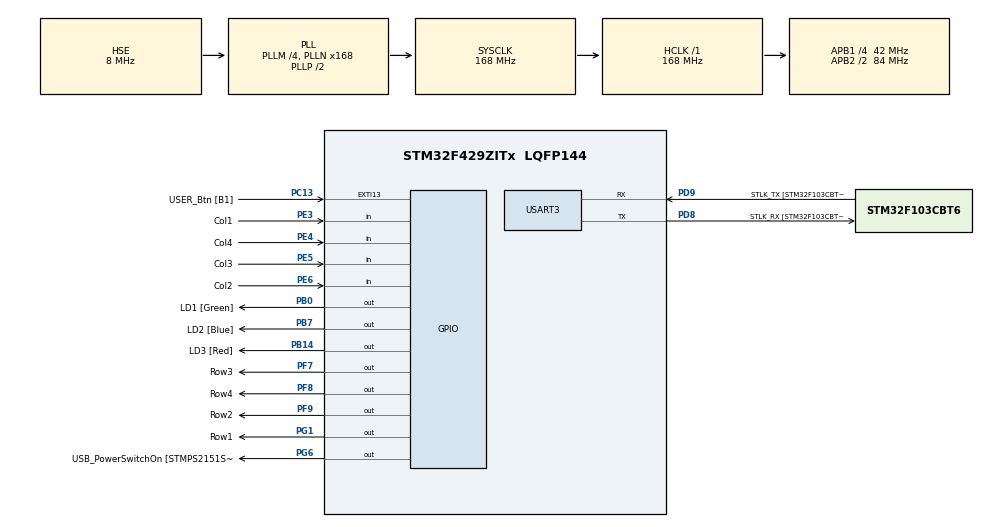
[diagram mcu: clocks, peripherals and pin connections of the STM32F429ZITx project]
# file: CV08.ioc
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Mcu.Family=STM32F4
Mcu.Name=STM32F429ZITx
Mcu.Package=LQFP144
NVIC.PriorityGroup=NVIC_PRIORITYGROUP_4
NVIC.TIM3_IRQn=true\:0\:0\:false\:false\:true\:true\:true
PA13.GPIO_Label=TMS
PA13.Mode=Serial_Wire
PA13.Signal=SYS_JTMS-SWDIO
PA14.GPIO_Label=TCK
PA14.Mode=Serial_Wire
PA14.Signal=SYS_JTCK-SWCLK
PB0.GPIO_Label=LD1 [Green]
PB0.Signal=GPIO_Output
PB14.GPIO_Label=LD3 [Red]
PB14.Signal=GPIO_Output
PB7.GPIO_Label=LD2 [Blue]
PB7.Signal=GPIO_Output
PC13.GPIO_Label=USER_Btn [B1]
PC13.Signal=GPXTI13
PC14/OSC32_IN.Mode=LSE-External-Oscillator
PC14/OSC32_IN.Signal=RCC_OSC32_IN
PC15/OSC32_OUT.Mode=LSE-External-Oscillator
PC15/OSC32_OUT.Signal=RCC_OSC32_OUT
PD8.GPIO_Label=STLK_RX [STM32F103CBT6_PA3]
PD8.Mode=Asynchronous
PD8.Signal=USART3_TX
PD9.GPIO_Label=STLK_TX [STM32F103CBT6_PA2]
PD9.Mode=Asynchronous
PD9.Signal=USART3_RX
PE3.GPIO_Label=Col1
PE3.GPIO_PuPd=GPIO_PULLUP
PE3.Signal=GPIO_Input
PE4.GPIO_Label=Col4
PE4.GPIO_PuPd=GPIO_PULLUP
PE4.Signal=GPIO_Input
PE5.GPIO_Label=Col3
PE5.GPIO_PuPd=GPIO_PULLUP
PE5.Signal=GPIO_Input
PE6.GPIO_Label=Col2
PE6.GPIO_PuPd=GPIO_PULLUP
PE6.Signal=GPIO_Input
PF7.GPIO_Label=Row3
PF7.GPIO_ModeDefaultOutputPP=GPIO_MODE_OUTPUT_OD
PF7.GPIO_PuPd=GPIO_PULLUP
PF7.Signal=GPIO_Output
PF8.GPIO_Label=Row4
PF8.GPIO_ModeDefaultOutputPP=GPIO_MODE_OUTPUT_OD
PF8.GPIO_PuPd=GPIO_PULLUP
PF8.Signal=GPIO_Output
PF9.GPIO_Label=Row2
PF9.GPIO_ModeDefaultOutputPP=GPIO_MODE_OUTPUT_OD
PF9.GPIO_PuPd=GPIO_PULLUP
PF9.Signal=GPIO_Output
PG1.GPIO_Label=Row1
PG1.GPIO_ModeDefaultOutputPP=GPIO_MODE_OUTPUT_OD
PG1.GPIO_PuPd=GPIO_PULLUP
PG1.Signal=GPIO_Output
PG6.GPIO_Label=USB_PowerSwitchOn [STMPS2151STR_EN]
PG6.Signal=GPIO_Output
PH0/OSC_IN.GPIO_Label=MCO [STM32F103CBT6_PA8]
PH0/OSC_IN.Mode=HSE-External-Clock-Source
PH0/OSC_IN.Signal=RCC_OSC_IN
PH1/OSC_OUT.Mode=HSE-External-Clock-Source
PH1/OSC_OUT.Signal=RCC_OSC_OUT
ProjectManager.HeapSize=0x200
ProjectManager.StackSize=0x400
ProjectManager.TargetToolchain=STM32CubeIDE
RCC.48MHZClocksFreq_Value=48000000
RCC.AHBFreq_Value=168000000
RCC.APB1CLKDivider=RCC_HCLK_DIV4
RCC.APB1Freq_Value=42000000
RCC.APB1TimFreq_Value=84000000
RCC.APB2CLKDivider=RCC_HCLK_DIV2
RCC.APB2Freq_Value=84000000
RCC.APB2TimCLKDivider=2
RCC.APB2TimFreq_Value=168000000
RCC.CortexFreq_Value=168000000
RCC.HCLKFreq_Value=168000000
RCC.HSE_VALUE=8000000
RCC.HSI_VALUE=16000000
RCC.PLLM=4
RCC.PLLMUL=RCC_PLL_MUL9
RCC.PLLN=168
RCC.PLLQ=7
RCC.PLLSourceVirtual=RCC_PLLSOURCE_HSE
RCC.PRESCALERUSB=RCC_USBCLKSOURCE_PLL_DIV1_5
RCC.SYSCLKFreq_VALUE=168000000
RCC.SYSCLKSource=RCC_SYSCLKSOURCE_PLLCLK
RCC.SYSCLKSourceVirtual=RCC_SYSCLKSOURCE_PLLCLK
RCC.USBFreq_Value=48000000
RCC.VCOOutputFreq_Value=336000000
TIM3.AutoReloadPreload=TIM_AUTORELOAD_PRELOAD_DISABLE
TIM3.Period=99
TIM3.Prescaler=8399
USART3.VirtualMode=VM_ASYNC
VP_TIM3_VS_ClockSourceINT.Mode=Internal
board=NUCLEO-F429ZI

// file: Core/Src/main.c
/* USER CODE BEGIN Header */
/**
  ******************************************************************************
  * @file           : main.c
  * @brief          : Main program body
  ******************************************************************************
  * @attention
  *
  * <h2><center>&copy; Copyright (c) 2020 STMicroelectronics.
  * All rights reserved.</center></h2>
  *
  * This software component is licensed by ST under BSD 3-Clause license,
  * the "License"; You may not use this file except in compliance with the
  * License. You may obtain a copy of the License at:
  *                        opensource.org/licenses/BSD-3-Clause
  *
  ******************************************************************************
  */
/* USER CODE END Header */
#include "main.h"

/* USER CODE BEGIN Includes */
#include <stdio.h>
/* USER CODE END Includes */

TIM_HandleTypeDef htim3;

UART_HandleTypeDef huart3;

/* USER CODE BEGIN PV */
volatile static int8_t key = -1;
const int8_t psswd[] = {7,9,3,2,12};
#define PSSWDTIMEOUT 3000
uint8_t position = 0;
uint32_t timeout = 0;
/* USER CODE END PV */

void SystemClock_Config(void);
static void MX_GPIO_Init(void);
static void MX_USART3_UART_Init(void);
static void MX_TIM3_Init(void);

/* USER CODE BEGIN 0 */
int __io_putchar(int ch)
{
 ITM_SendChar(ch);
return 0;
}

void HAL_TIM_PeriodElapsedCallback(TIM_HandleTypeDef *htim)
{
 static int8_t row = 0;
 static const int8_t keyboard[4][4] = {
 { 1, 2, 3, 21 },
 { 4, 5, 6, 22 },
 { 7, 8, 9, 23 },
 { 11, 0, 12, 24 },
 };
 if (key == -1) {
	 if (HAL_GPIO_ReadPin(Col1_GPIO_Port, Col1_Pin) == GPIO_PIN_RESET) key = keyboard[row][0];
	 if (HAL_GPIO_ReadPin(Col2_GPIO_Port, Col2_Pin) == GPIO_PIN_RESET) key = keyboard[row][1];
	 if (HAL_GPIO_ReadPin(Col1_GPIO_Port, Col1_Pin) == GPIO_PIN_RESET) key = keyboard[row][2];
	 if (HAL_GPIO_ReadPin(Col2_GPIO_Port, Col2_Pin) == GPIO_PIN_RESET) key = keyboard[row][3];
	 printf("stisknuto: %d\n", key );
 }

 HAL_GPIO_WritePin(Row1_GPIO_Port, Row1_Pin, GPIO_PIN_SET);
 HAL_GPIO_WritePin(Row2_GPIO_Port, Row2_Pin, GPIO_PIN_SET);
 HAL_GPIO_WritePin(Row3_GPIO_Port, Row3_Pin, GPIO_PIN_SET);
 HAL_GPIO_WritePin(Row4_GPIO_Port, Row4_Pin, GPIO_PIN_SET);

 switch (row) {
 case 0: row = 1; HAL_GPIO_WritePin(Row2_GPIO_Port, Row2_Pin, GPIO_PIN_RESET); break;
 case 1: row = 2; HAL_GPIO_WritePin(Row3_GPIO_Port, Row3_Pin, GPIO_PIN_RESET); break;
 case 2: row = 1; HAL_GPIO_WritePin(Row2_GPIO_Port, Row2_Pin, GPIO_PIN_RESET); break;
 case 3: row = 2; HAL_GPIO_WritePin(Row3_GPIO_Port, Row3_Pin, GPIO_PIN_RESET); break;
 }

 row++;
 if(row>3) row = 0;
}

void  unlock(void)
{
	HAL_GPIO_WritePin(LD1_GPIO_Port, LD1_Pin, GPIO_PIN_SET);
	printf("Unlocked\n");
}

/* USER CODE END 0 */

int main(void)
{

  /* MCU Configuration--------------------------------------------------------*/

  /* Reset of all peripherals, Initializes the Flash interface and the Systick. */
  HAL_Init();

  /* Configure the system clock */
  SystemClock_Config();

  /* Initialize all configured peripherals */
  MX_GPIO_Init();
  MX_USART3_UART_Init();
  MX_TIM3_Init();
  /* USER CODE BEGIN 2 */
  HAL_TIM_Base_Start_IT(&htim3);
  printf("start\n");
  /* USER CODE END 2 */

  /* Infinite loop */
  while (1)
  {

    /* USER CODE BEGIN 3 */

	  if(key!=-1)// new key available
	  {
		  if(timeout == 0) timeout =  HAL_GetTick(); //start timeout
		  if(key==psswd[position]) position++; // another correct number;
		  else
		  {
			  position = 0;
			  timeout = 0;
			  printf("Wrong password\n");
		  }
		  if(position>sizeof(psswd)) unlock(); //psswd correct
		  key = -1;// receive another pressed key
	  }

	  if( HAL_GetTick() - timeout > PSSWDTIMEOUT) //timeout to enter password
	  {
		  timeout = 0;
		  position = 0;
		  printf("Timeout elapsed \n");
	  }
	  HAL_Delay(6);
	  //printf("Tick\n");
	  HAL_GetTick();

  }
  /* USER CODE END 3 */
}

void SystemClock_Config(void)
{
  RCC_OscInitTypeDef RCC_OscInitStruct = {0};
  RCC_ClkInitTypeDef RCC_ClkInitStruct = {0};

  /** Configure the main internal regulator output voltage
  */
  __HAL_RCC_PWR_CLK_ENABLE();
  __HAL_PWR_VOLTAGESCALING_CONFIG(PWR_REGULATOR_VOLTAGE_SCALE1);
  /** Initializes the RCC Oscillators according to the specified parameters
  * in the RCC_OscInitTypeDef structure.
  */
  RCC_OscInitStruct.OscillatorType = RCC_OSCILLATORTYPE_HSE;
  RCC_OscInitStruct.HSEState = RCC_HSE_BYPASS;
  RCC_OscInitStruct.PLL.PLLState = RCC_PLL_ON;
  RCC_OscInitStruct.PLL.PLLSource = RCC_PLLSOURCE_HSE;
  RCC_OscInitStruct.PLL.PLLM = 4;
  RCC_OscInitStruct.PLL.PLLN = 168;
  RCC_OscInitStruct.PLL.PLLP = RCC_PLLP_DIV2;
  RCC_OscInitStruct.PLL.PLLQ = 7;
  if (HAL_RCC_OscConfig(&RCC_OscInitStruct) != HAL_OK)
  {
    Error_Handler();
  }
  /** Initializes the CPU, AHB and APB buses clocks
  */
  RCC_ClkInitStruct.ClockType = RCC_CLOCKTYPE_HCLK|RCC_CLOCKTYPE_SYSCLK
                              |RCC_CLOCKTYPE_PCLK1|RCC_CLOCKTYPE_PCLK2;
  RCC_ClkInitStruct.SYSCLKSource = RCC_SYSCLKSOURCE_PLLCLK;
  RCC_ClkInitStruct.AHBCLKDivider = RCC_SYSCLK_DIV1;
  RCC_ClkInitStruct.APB1CLKDivider = RCC_HCLK_DIV4;
  RCC_ClkInitStruct.APB2CLKDivider = RCC_HCLK_DIV2;

  if (HAL_RCC_ClockConfig(&RCC_ClkInitStruct, FLASH_LATENCY_5) != HAL_OK)
  {
    Error_Handler();
  }
}

static void MX_TIM3_Init(void)
{

  TIM_ClockConfigTypeDef sClockSourceConfig = {0};
  TIM_MasterConfigTypeDef sMasterConfig = {0};

  htim3.Instance = TIM3;
  htim3.Init.Prescaler = 8399;
  htim3.Init.CounterMode = TIM_COUNTERMODE_UP;
  htim3.Init.Period = 99;
  htim3.Init.ClockDivision = TIM_CLOCKDIVISION_DIV1;
  htim3.Init.AutoReloadPreload = TIM_AUTORELOAD_PRELOAD_DISABLE;
  if (HAL_TIM_Base_Init(&htim3) != HAL_OK)
  {
    Error_Handler();
  }
  sClockSourceConfig.ClockSource = TIM_CLOCKSOURCE_INTERNAL;
  if (HAL_TIM_ConfigClockSource(&htim3, &sClockSourceConfig) != HAL_OK)
  {
    Error_Handler();
  }
  sMasterConfig.MasterOutputTrigger = TIM_TRGO_RESET;
  sMasterConfig.MasterSlaveMode = TIM_MASTERSLAVEMODE_DISABLE;
  if (HAL_TIMEx_MasterConfigSynchronization(&htim3, &sMasterConfig) != HAL_OK)
  {
    Error_Handler();
  }

}

static void MX_USART3_UART_Init(void)
{

  huart3.Instance = USART3;
  huart3.Init.BaudRate = 115200;
  huart3.Init.WordLength = UART_WORDLENGTH_8B;
  huart3.Init.StopBits = UART_STOPBITS_1;
  huart3.Init.Parity = UART_PARITY_NONE;
  huart3.Init.Mode = UART_MODE_TX_RX;
  huart3.Init.HwFlowCtl = UART_HWCONTROL_NONE;
  huart3.Init.OverSampling = UART_OVERSAMPLING_16;
  if (HAL_UART_Init(&huart3) != HAL_OK)
  {
    Error_Handler();
  }

}

static void MX_GPIO_Init(void)
{
  GPIO_InitTypeDef GPIO_InitStruct = {0};

  /* GPIO Ports Clock Enable */
  __HAL_RCC_GPIOE_CLK_ENABLE();
  __HAL_RCC_GPIOC_CLK_ENABLE();
  __HAL_RCC_GPIOF_CLK_ENABLE();
  __HAL_RCC_GPIOH_CLK_ENABLE();
  __HAL_RCC_GPIOB_CLK_ENABLE();
  __HAL_RCC_GPIOG_CLK_ENABLE();
  __HAL_RCC_GPIOD_CLK_ENABLE();
  __HAL_RCC_GPIOA_CLK_ENABLE();

  /*Configure GPIO pin Output Level */
  HAL_GPIO_WritePin(GPIOF, Row3_Pin|Row4_Pin|Row2_Pin, GPIO_PIN_RESET);

  /*Configure GPIO pin Output Level */
  HAL_GPIO_WritePin(GPIOB, LD1_Pin|LD3_Pin|LD2_Pin, GPIO_PIN_RESET);

  /*Configure GPIO pin Output Level */
  HAL_GPIO_WritePin(GPIOG, Row1_Pin|USB_PowerSwitchOn_Pin, GPIO_PIN_RESET);

  /*Configure GPIO pins : Col1_Pin Col4_Pin Col3_Pin Col2_Pin */
  GPIO_InitStruct.Pin = Col1_Pin|Col4_Pin|Col3_Pin|Col2_Pin;
  GPIO_InitStruct.Mode = GPIO_MODE_INPUT;
  GPIO_InitStruct.Pull = GPIO_PULLUP;
  HAL_GPIO_Init(GPIOE, &GPIO_InitStruct);

  /*Configure GPIO pin : USER_Btn_Pin */
  GPIO_InitStruct.Pin = USER_Btn_Pin;
  GPIO_InitStruct.Mode = GPIO_MODE_IT_RISING;
  GPIO_InitStruct.Pull = GPIO_NOPULL;
  HAL_GPIO_Init(USER_Btn_GPIO_Port, &GPIO_InitStruct);

  /*Configure GPIO pins : Row3_Pin Row4_Pin Row2_Pin */
  GPIO_InitStruct.Pin = Row3_Pin|Row4_Pin|Row2_Pin;
  GPIO_InitStruct.Mode = GPIO_MODE_OUTPUT_OD;
  GPIO_InitStruct.Pull = GPIO_PULLUP;
  GPIO_InitStruct.Speed = GPIO_SPEED_FREQ_LOW;
  HAL_GPIO_Init(GPIOF, &GPIO_InitStruct);

  /*Configure GPIO pins : LD1_Pin LD3_Pin LD2_Pin */
  GPIO_InitStruct.Pin = LD1_Pin|LD3_Pin|LD2_Pin;
  GPIO_InitStruct.Mode = GPIO_MODE_OUTPUT_PP;
  GPIO_InitStruct.Pull = GPIO_NOPULL;
  GPIO_InitStruct.Speed = GPIO_SPEED_FREQ_LOW;
  HAL_GPIO_Init(GPIOB, &GPIO_InitStruct);

  /*Configure GPIO pin : Row1_Pin */
  GPIO_InitStruct.Pin = Row1_Pin;
  GPIO_InitStruct.Mode = GPIO_MODE_OUTPUT_OD;
  GPIO_InitStruct.Pull = GPIO_PULLUP;
  GPIO_InitStruct.Speed = GPIO_SPEED_FREQ_LOW;
  HAL_GPIO_Init(Row1_GPIO_Port, &GPIO_InitStruct);

  /*Configure GPIO pin : USB_PowerSwitchOn_Pin */
  GPIO_InitStruct.Pin = USB_PowerSwitchOn_Pin;
  GPIO_InitStruct.Mode = GPIO_MODE_OUTPUT_PP;
  GPIO_InitStruct.Pull = GPIO_NOPULL;
  GPIO_InitStruct.Speed = GPIO_SPEED_FREQ_LOW;
  HAL_GPIO_Init(USB_PowerSwitchOn_GPIO_Port, &GPIO_InitStruct);

}

void Error_Handler(void)
{
}

/************************ (C) COPYRIGHT STMicroelectronics *****END OF FILE****/
